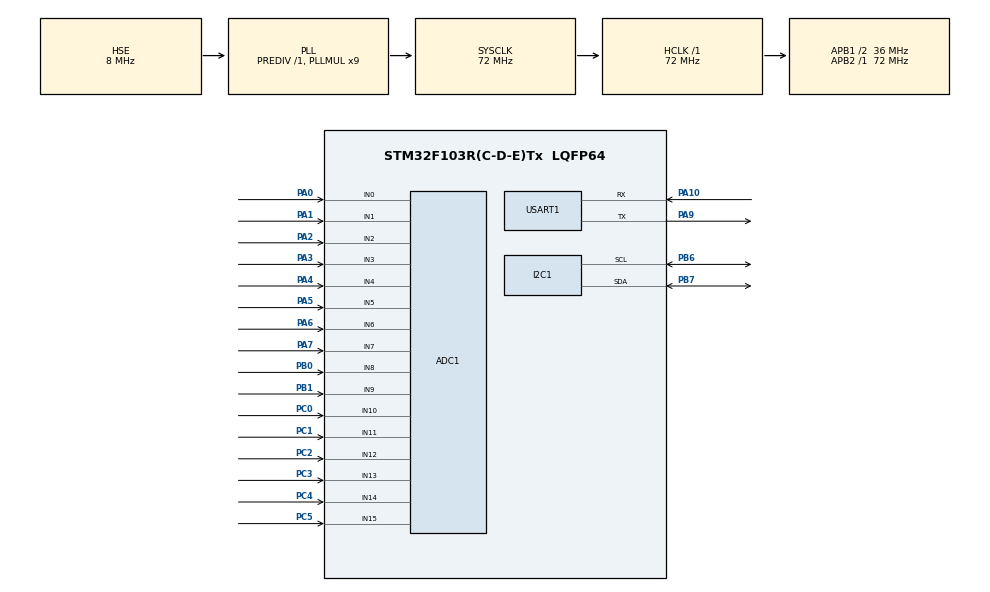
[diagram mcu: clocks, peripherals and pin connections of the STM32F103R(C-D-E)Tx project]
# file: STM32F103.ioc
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ADC1.Channel-10\#ChannelInjectedConversion=ADC_CHANNEL_0
ADC1.Channel-11\#ChannelInjectedConversion=ADC_CHANNEL_0
ADC1.Channel-19\#ChannelRegularConversion=ADC_CHANNEL_0
ADC1.Channel-20\#ChannelRegularConversion=ADC_CHANNEL_0
ADC1.Channel-8\#ChannelInjectedConversion=ADC_CHANNEL_0
ADC1.Channel-9\#ChannelInjectedConversion=ADC_CHANNEL_0
ADC1.ContinuousConvMode=ENABLE
ADC1.DataAlign=ADC_DATAALIGN_RIGHT
ADC1.DiscontinuousConvMode=DISABLE
ADC1.EnableRegularConversion=ENABLE
ADC1.InjNumberOfConversion=0
ADC1.InjectedOffset-10\#ChannelInjectedConversion=0
ADC1.InjectedOffset-11\#ChannelInjectedConversion=0
ADC1.InjectedOffset-8\#ChannelInjectedConversion=0
ADC1.InjectedOffset-9\#ChannelInjectedConversion=0
ADC1.NbrOfConversion=2
ADC1.NbrOfConversionFlag=1
ADC1.Rank-10\#ChannelInjectedConversion=3
ADC1.Rank-11\#ChannelInjectedConversion=4
ADC1.Rank-19\#ChannelRegularConversion=1
ADC1.Rank-20\#ChannelRegularConversion=2
ADC1.Rank-8\#ChannelInjectedConversion=1
ADC1.Rank-9\#ChannelInjectedConversion=2
ADC1.SamplingTime-10\#ChannelInjectedConversion=ADC_SAMPLETIME_1CYCLE_5
ADC1.SamplingTime-11\#ChannelInjectedConversion=ADC_SAMPLETIME_1CYCLE_5
ADC1.SamplingTime-19\#ChannelRegularConversion=ADC_SAMPLETIME_71CYCLES_5
ADC1.SamplingTime-20\#ChannelRegularConversion=ADC_SAMPLETIME_71CYCLES_5
ADC1.SamplingTime-8\#ChannelInjectedConversion=ADC_SAMPLETIME_1CYCLE_5
ADC1.SamplingTime-9\#ChannelInjectedConversion=ADC_SAMPLETIME_1CYCLE_5
ADC1.ScanConvMode=ADC_SCAN_ENABLE
ADC1.master=1
Dma.Request0=USART1_RX
Dma.Request1=USART1_TX
Dma.USART1_RX.0.Direction=DMA_PERIPH_TO_MEMORY
Dma.USART1_RX.0.Instance=DMA1_Channel5
Dma.USART1_RX.0.MemDataAlignment=DMA_MDATAALIGN_BYTE
Dma.USART1_RX.0.MemInc=DMA_MINC_ENABLE
Dma.USART1_RX.0.Mode=DMA_NORMAL
Dma.USART1_RX.0.PeriphDataAlignment=DMA_PDATAALIGN_BYTE
Dma.USART1_RX.0.PeriphInc=DMA_PINC_DISABLE
Dma.USART1_RX.0.Priority=DMA_PRIORITY_LOW
Dma.USART1_TX.1.Direction=DMA_MEMORY_TO_PERIPH
Dma.USART1_TX.1.Instance=DMA1_Channel4
Dma.USART1_TX.1.MemDataAlignment=DMA_MDATAALIGN_BYTE
Dma.USART1_TX.1.MemInc=DMA_MINC_ENABLE
Dma.USART1_TX.1.Mode=DMA_NORMAL
Dma.USART1_TX.1.PeriphDataAlignment=DMA_PDATAALIGN_BYTE
Dma.USART1_TX.1.PeriphInc=DMA_PINC_DISABLE
Dma.USART1_TX.1.Priority=DMA_PRIORITY_LOW
I2C1.I2C_Mode=I2C_Fast
I2C1.OwnAddress=0
Mcu.Family=STM32F1
Mcu.Name=STM32F103R(C-D-E)Tx
Mcu.Package=LQFP64
NVIC.ADC1_2_IRQn=true\:0\:0\:false\:false\:true
NVIC.DMA1_Channel4_IRQn=true\:0\:0\:false\:false\:true
NVIC.DMA1_Channel5_IRQn=true\:0\:0\:false\:false\:true
NVIC.I2C1_ER_IRQn=true\:0\:0\:false\:false\:true
NVIC.I2C1_EV_IRQn=true\:0\:0\:false\:false\:true
NVIC.PriorityGroup=NVIC_PRIORITYGROUP_4
NVIC.USART1_IRQn=true\:0\:0\:false\:false\:true
PA0-WKUP.Signal=ADCx_IN0
PA1.Signal=ADCx_IN1
PA10.Mode=Asynchronous
PA10.Signal=USART1_RX
PA13.Mode=JTAG_5_pins
PA13.Signal=SYS_JTMS-SWDIO
PA14.Mode=JTAG_5_pins
PA14.Signal=SYS_JTCK-SWCLK
PA15.Mode=JTAG_5_pins
PA15.Signal=SYS_JTDI
PA2.Signal=ADCx_IN2
PA3.Signal=ADCx_IN3
PA4.Signal=ADCx_IN4
PA5.Signal=ADCx_IN5
PA6.Signal=ADCx_IN6
PA7.Signal=ADCx_IN7
PA9.Mode=Asynchronous
PA9.Signal=USART1_TX
PB0.Signal=ADCx_IN8
PB1.Signal=ADCx_IN9
PB3.Mode=JTAG_5_pins
PB3.Signal=SYS_JTDO-TRACESWO
PB4.Mode=JTAG_5_pins
PB4.Signal=SYS_NJTRST
PB6.Mode=I2C
PB6.Signal=I2C1_SCL
PB7.Mode=I2C
PB7.Signal=I2C1_SDA
PC0.Signal=ADCx_IN10
PC1.Signal=ADCx_IN11
PC2.Signal=ADCx_IN12
PC3.Signal=ADCx_IN13
PC4.Signal=ADCx_IN14
PC5.Signal=ADCx_IN15
PD0-OSC_IN.Mode=HSE-External-Oscillator
PD0-OSC_IN.Signal=RCC_OSC_IN
PD1-OSC_OUT.Mode=HSE-External-Oscillator
PD1-OSC_OUT.Signal=RCC_OSC_OUT
ProjectManager.HeapSize=0x1000
ProjectManager.StackSize=0x400
ProjectManager.TargetToolchain=MDK-ARM V5
RCC.ADCPresc=RCC_ADCPCLK2_DIV6
RCC.AHBFreq_Value=72000000
RCC.APB1CLKDivider=RCC_HCLK_DIV2
RCC.APB1Freq_Value=36000000
RCC.APB1TimFreq_Value=72000000
RCC.APB2Freq_Value=72000000
RCC.APB2TimFreq_Value=72000000
RCC.HCLKFreq_Value=72000000
RCC.HSIState=RCC_HSI_ON
RCC.PLLMUL=RCC_PLL_MUL9
RCC.PLLSourceVirtual=RCC_PLLSOURCE_HSE
RCC.SYSCLKFreq_VALUE=72000000
RCC.SYSCLKSource=RCC_SYSCLKSOURCE_PLLCLK
RCC.USBFreq_Value=72000000
SH.ADCx_IN0.0=ADC1_IN0,IN0
SH.ADCx_IN1.0=ADC1_IN1,IN1
SH.ADCx_IN10.0=ADC1_IN10,IN10
SH.ADCx_IN11.0=ADC1_IN11,IN11
SH.ADCx_IN12.0=ADC1_IN12,IN12
SH.ADCx_IN13.0=ADC1_IN13,IN13
SH.ADCx_IN14.0=ADC1_IN14,IN14
SH.ADCx_IN15.0=ADC1_IN15,IN15
SH.ADCx_IN2.0=ADC1_IN2,IN2
SH.ADCx_IN3.0=ADC1_IN3,IN3
SH.ADCx_IN4.0=ADC1_IN4,IN4
SH.ADCx_IN5.0=ADC1_IN5,IN5
SH.ADCx_IN6.0=ADC1_IN6,IN6
SH.ADCx_IN7.0=ADC1_IN7,IN7
SH.ADCx_IN8.0=ADC1_IN8,IN8
SH.ADCx_IN9.0=ADC1_IN9,IN9
board=STM32F103

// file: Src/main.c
/**
  ******************************************************************************
  * File Name          : main.c
  * Description        : Main program body
  ******************************************************************************
  *
  * COPYRIGHT(c) 2016 STMicroelectronics
  *
  * Redistribution and use in source and binary forms, with or without modification,
  * are permitted provided that the following conditions are met:
  *   1. Redistributions of source code must retain the above copyright notice,
  *      this list of conditions and the following disclaimer.
  *   2. Redistributions in binary form must reproduce the above copyright notice,
  *      this list of conditions and the following disclaimer in the documentation
  *      and/or other materials provided with the distribution.
  *   3. Neither the name of STMicroelectronics nor the names of its contributors
  *      may be used to endorse or promote products derived from this software
  *      without specific prior written permission.
  *
  * THIS SOFTWARE IS PROVIDED BY THE COPYRIGHT HOLDERS AND CONTRIBUTORS "AS IS"
  * AND ANY EXPRESS OR IMPLIED WARRANTIES, INCLUDING, BUT NOT LIMITED TO, THE
  * IMPLIED WARRANTIES OF MERCHANTABILITY AND FITNESS FOR A PARTICULAR PURPOSE ARE
  * DISCLAIMED. IN NO EVENT SHALL THE COPYRIGHT HOLDER OR CONTRIBUTORS BE LIABLE
  * FOR ANY DIRECT, INDIRECT, INCIDENTAL, SPECIAL, EXEMPLARY, OR CONSEQUENTIAL
  * DAMAGES (INCLUDING, BUT NOT LIMITED TO, PROCUREMENT OF SUBSTITUTE GOODS OR
  * SERVICES; LOSS OF USE, DATA, OR PROFITS; OR BUSINESS INTERRUPTION) HOWEVER
  * CAUSED AND ON ANY THEORY OF LIABILITY, WHETHER IN CONTRACT, STRICT LIABILITY,
  * OR TORT (INCLUDING NEGLIGENCE OR OTHERWISE) ARISING IN ANY WAY OUT OF THE USE
  * OF THIS SOFTWARE, EVEN IF ADVISED OF THE POSSIBILITY OF SUCH DAMAGE.
  *
  ******************************************************************************
  */
#include "main.h"
#include "stm32f1xx_hal.h"
#include "adc.h"
#include "dma.h"
#include "i2c.h"
#include "usart.h"
#include "gpio.h"

/* USER CODE BEGIN Includes */
#include "TaskTimeManager.h"
#include "ProtocolFrame.h"
#include "ComBuff.h"

/* USER CODE END Includes */

/* USER CODE BEGIN PV */
#define AS5600_RAW_ANGLE_H 0x0c //û�д������ĽǶ�
/* Private variables ---------------------------------------------------------*/

/* USER CODE END PV */

void SystemClock_Config(void);
void Error_Handler(void);

/* USER CODE BEGIN PFP */
/* Private function prototypes -----------------------------------------------*/

/* USER CODE END PFP */

/* USER CODE BEGIN 0 */
uint8_t m_data = 0;

uint8_t addr = 0;
void LED_TEST(void){
  static uint8_t seq = 0;
//  uint8_t data[100] = "123456\r\n";
//  Uart1_DMA_Sender.Write(&Uart1_DMA_Sender, data, 8);
//  memset(data, 0, 8);
  //PRINT_HEAP();
  printf("LED_TEST:%d\r\n", seq++);
  //Protocol_Send(REPORT_STATE, &psd, 1);

	HAL_ADC_Start_IT(&hadc1);
//	if(HAL_ADC_PollForConversion(&hadc1, 10) == HAL_OK)
//		printf("%d\r\n",HAL_ADC_GetValue(&hadc1));
}

void HAL_ADC_ConvCpltCallback(ADC_HandleTypeDef* hadc){
	printf("%d\r\n",HAL_ADC_GetValue(&hadc1));
	HAL_ADC_Stop_IT(&hadc1);
}
/* USER CODE END 0 */

int main(void)
{

  /* MCU Configuration----------------------------------------------------------*/

  /* Reset of all peripherals, Initializes the Flash interface and the Systick. */
  HAL_Init();

  /* Configure the system clock */
  SystemClock_Config();

  /* Initialize all configured peripherals */
  MX_GPIO_Init();
  MX_DMA_Init();
  MX_I2C1_Init();
  MX_USART1_UART_Init();
  MX_ADC1_Init();

  /* USER CODE BEGIN 2 */
  TaskTime_Init();
  ProtocolFrame_Init();
  Log_Init();
  ComBuff_Init();
//  HAL_UART_Receive_DMA(&huart2, Uart2_DMA_Receiver.Data, 1024);
  TaskTime_Add(TaskID++, TimeCycle(0,500), LED_TEST, Count_Mode);
  TaskTime_Add(TaskID++, TimeCycle(0,30), SenderKeepTransmit, Count_Mode);
  TaskTime_Add(TaskID++, TimeCycle(0,30), PaddingProtocol, Count_Mode);
	TaskTime_Add(TaskID++, TimeCycle(0,30), FetchProtocols, Count_Mode);

  /* USER CODE END 2 */

  /* Infinite loop */
  while (1)
  {

  /* USER CODE BEGIN 3 */
    TaskTime_Run();
  }
  /* USER CODE END 3 */

}

/** System Clock Configuration
*/
void SystemClock_Config(void)
{

  RCC_OscInitTypeDef RCC_OscInitStruct;
  RCC_ClkInitTypeDef RCC_ClkInitStruct;
  RCC_PeriphCLKInitTypeDef PeriphClkInit;

    /**Initializes the CPU, AHB and APB busses clocks
    */
  RCC_OscInitStruct.OscillatorType = RCC_OSCILLATORTYPE_HSE;
  RCC_OscInitStruct.HSEState = RCC_HSE_ON;
  RCC_OscInitStruct.HSEPredivValue = RCC_HSE_PREDIV_DIV1;
  RCC_OscInitStruct.HSIState = RCC_HSI_ON;
  RCC_OscInitStruct.PLL.PLLState = RCC_PLL_ON;
  RCC_OscInitStruct.PLL.PLLSource = RCC_PLLSOURCE_HSE;
  RCC_OscInitStruct.PLL.PLLMUL = RCC_PLL_MUL9;
  if (HAL_RCC_OscConfig(&RCC_OscInitStruct) != HAL_OK)
  {
    Error_Handler();
  }

    /**Initializes the CPU, AHB and APB busses clocks
    */
  RCC_ClkInitStruct.ClockType = RCC_CLOCKTYPE_HCLK|RCC_CLOCKTYPE_SYSCLK
                              |RCC_CLOCKTYPE_PCLK1|RCC_CLOCKTYPE_PCLK2;
  RCC_ClkInitStruct.SYSCLKSource = RCC_SYSCLKSOURCE_PLLCLK;
  RCC_ClkInitStruct.AHBCLKDivider = RCC_SYSCLK_DIV1;
  RCC_ClkInitStruct.APB1CLKDivider = RCC_HCLK_DIV2;
  RCC_ClkInitStruct.APB2CLKDivider = RCC_HCLK_DIV1;

  if (HAL_RCC_ClockConfig(&RCC_ClkInitStruct, FLASH_LATENCY_2) != HAL_OK)
  {
    Error_Handler();
  }

  PeriphClkInit.PeriphClockSelection = RCC_PERIPHCLK_ADC;
  PeriphClkInit.AdcClockSelection = RCC_ADCPCLK2_DIV6;
  if (HAL_RCCEx_PeriphCLKConfig(&PeriphClkInit) != HAL_OK)
  {
    Error_Handler();
  }

    /**Configure the Systick interrupt time
    */
  HAL_SYSTICK_Config(HAL_RCC_GetHCLKFreq()/1000);

    /**Configure the Systick
    */
  HAL_SYSTICK_CLKSourceConfig(SYSTICK_CLKSOURCE_HCLK);

  /* SysTick_IRQn interrupt configuration */
  HAL_NVIC_SetPriority(SysTick_IRQn, 0, 0);
}

void Error_Handler(void)
{
  /* USER CODE BEGIN Error_Handler */
  /* User can add his own implementation to report the HAL error return state */
  while(1)
  {
    Log.error("Error_Handler");
  }
  /* USER CODE END Error_Handler */
}

/************************ (C) COPYRIGHT STMicroelectronics *****END OF FILE****/
